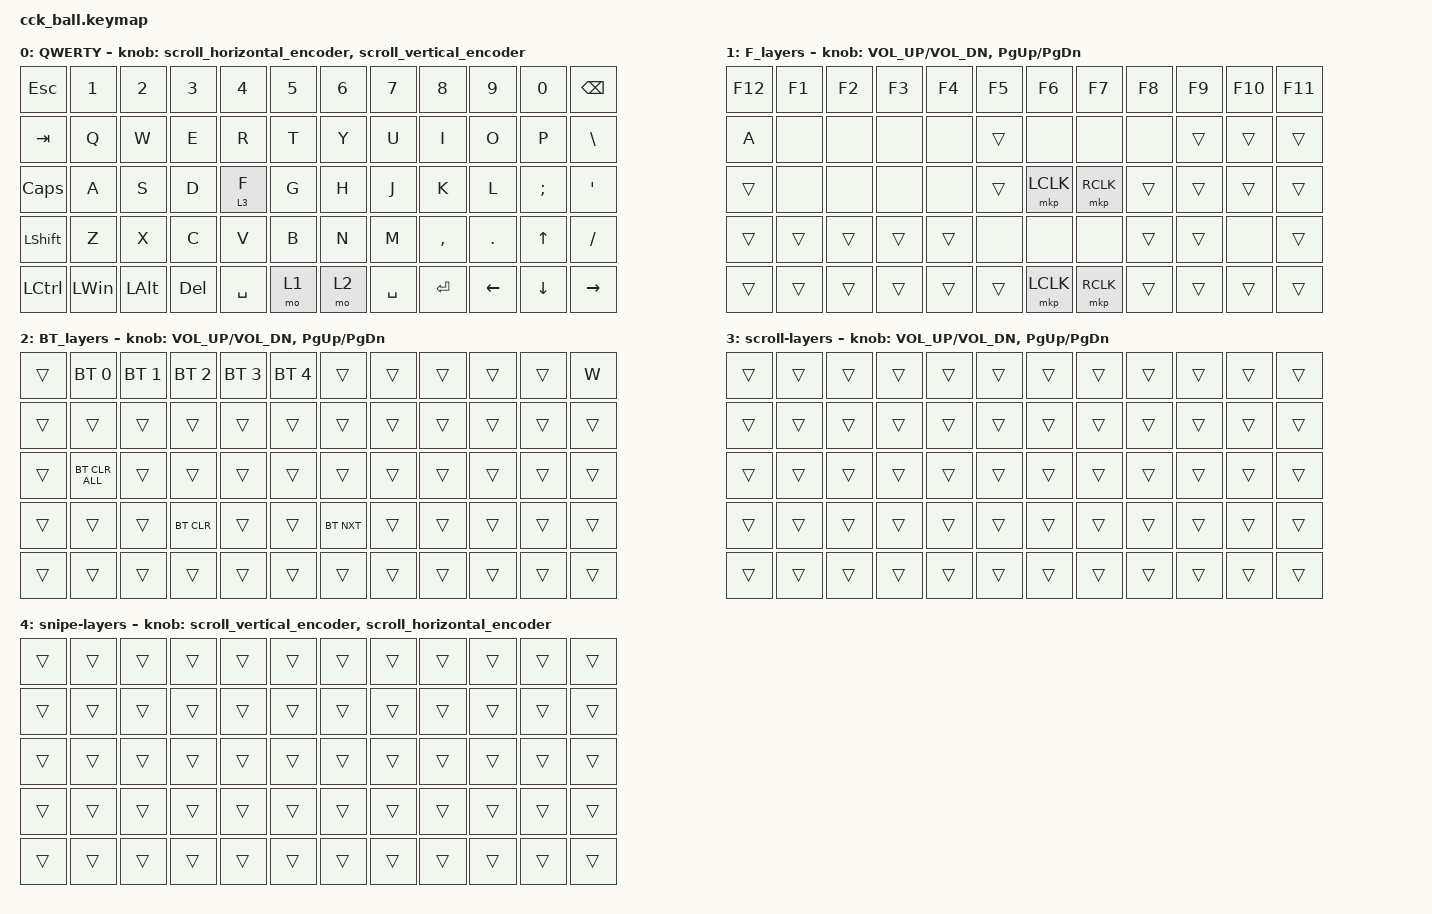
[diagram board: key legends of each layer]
#define ZMK_POINTING_DEFAULT_MOVE_VAL 1000 // 600
// Это СКОРОСТЬ, а не «пиксели за щелчок». За один тик &msc набегает
// SCRL_VAL * trigger-period-ms / 1000, отправляется только целая часть,
// остаток копится и обнуляется при отпускании (behavior_input_two_axis.c).
// Расчёт при периоде 16 мс: 70 * 16/1000 = 1.12 => единица набирается за ПЕРВЫЙ
// тик, движение начинается через ~16 мс. С прежними 40 (0.64 за тик) событие
// уходило лишь на втором тике, ~32 мс — это ощущалось как пауза перед стартом.
// Второго события не будет: при tap-ms 30 отпускание наступает раньше
// следующего тика (32 мс). Одно событие = один клик колеса (scaler 1:1).
#define ZMK_POINTING_DEFAULT_SCRL_VAL 70

#include <input/processors.dtsi>
#include <zephyr/dt-bindings/input/input-event-codes.h>
#include <behaviors.dtsi>
#include <dt-bindings/zmk/bt.h>
#include <dt-bindings/zmk/keys.h>
#include <dt-bindings/zmk/pointing.h>

&mmv_input_listener { input-processors = <&zip_xy_scaler 2 1>; };

// Множитель 1:1 — одно событие скролла = один «клик» колеса (100 px).
// С вендорским 2:1 каждый щелчок давал двойной клик (замер: 200 px).
&msc_input_listener { input-processors = <&zip_scroll_scaler 1 1>; };

&msc {
    acceleration-exponent = <0>;      // 0
    time-to-max-speed-ms = <300>;       // 300
    delay-ms = <0>;                   // 0
    // Период тиков оставлен ДЕФОЛТНЫМ (16 мс). Пробовали 8 мс с коротким
    // tap-ms — событие не уходило вообще: тик выполняется в системной
    // очереди работ и при занятости (BLE, опрос матрицы) не успевает до
    // release, который его отменяет (k_work_cancel_delayable).
};

&mmv {
    time-to-max-speed-ms = <500>;
    acceleration-exponent = <1>;
    trigger-period-ms = <16>;
};

&soft_off { hold-time-ms = <2000>; };

// Фильтр дребезга энкодеров. Симптом при вендорских 800 мкс: изредка «проскок»
// назад — щелчок будто крутнули обратно, а потом снова вперёд. Драйвер считает
// обратный щелчок глитчем, только если тот уложился в это окно после перехода
// в ту же сторону; 800 мкс для этих энкодеров мало. 5000 мкс безопасно:
// настоящий реверс требует остановиться и крутнуть назад, это десятки мс.
// ⚠️ Фильтр работает в драйвере на ТОЙ половине, где физически стоит энкодер:
// для левого энкодера правка вступит в силу только после прошивки ЛЕВОЙ половины.
&left_encoder  { filter-reverse-guard-us = <5000>; };
&right_encoder { filter-reverse-guard-us = <5000>; };

/ {
    // 上下滚动编码器行为
    // tap-ms — компромисс двух ИЗМЕРЕННЫХ границ:
    //  * слишком МАЛО (12-14 мс) => тик &msc не успевает выполниться до release,
    //    который его отменяет, и не уходит НИ ОДНОГО события (проверено);
    //  * слишком МНОГО (вендорские 100 мс) => очередь поведений тянет лишь
    //    ~10 щелчков/с, при быстром вращении переполняется, теряются release,
    //    и непрерывное &msc залипает нажатым => прокрутка сама по себе
    //    (замер: 59 событий/с в полном покое).
    // 30 мс: событие уходит на первом тике (16 мс), запас до отпускания 14 мс,
    // второй тик (32 мс) уже не наступает => ровно одно событие на щелчок.
    // Очередь тянет ~33 щелчка/с при буфере 512 элементов.
    scroll_vertical_encoder: scroll_vertical_encoder {
        compatible = "zmk,behavior-sensor-rotate";
        #sensor-binding-cells = <0>;
        // Порядок: первый binding — по часовой, второй — против.
        // Вендорский порядок (DOWN, UP) давал на правом энкодере движение
        // в обратную сторону — поменян местами.
        bindings = <&msc SCRL_UP>, <&msc SCRL_DOWN>;
        tap-ms = <30>;
    };

    // 左右滚动编码器行为
    scroll_horizontal_encoder: scroll_horizontal_encoder {
        compatible = "zmk,behavior-sensor-rotate";
        #sensor-binding-cells = <0>;
        // Порядок: по часовой, против. Поменян местами — направление
        // горизонтали было обратным (как и у вертикали).
        bindings = <&msc SCRL_RIGHT>, <&msc SCRL_LEFT>;
        tap-ms = <30>;
    };
    
    behaviors {
    };

    keymap {
        compatible = "zmk,keymap";

        QWERTY {
            bindings = <
&kp ESC           &kp N1        &kp N2        &kp N3      &kp N4     &kp N5  &kp N6  &kp N7     &kp N8     &kp N9          &kp N0          &kp BACKSPACE
&kp TAB           &kp Q         &kp W         &kp E       &kp R      &kp T   &kp Y   &kp U      &kp I      &kp O           &kp P           &kp BSLH
&kp CAPSLOCK      &kp A         &kp S         &kp D       &lt 3 F    &kp G   &kp H   &kp J      &kp K      &kp L           &kp SEMI        &kp SQT
&kp LEFT_SHIFT    &kp Z         &kp X         &kp C       &kp V      &kp B   &kp N   &kp M      &kp COMMA  &kp DOT         &kp UP_ARROW    &kp FSLH
&kp LEFT_CONTROL  &kp LEFT_WIN  &kp LEFT_ALT  &kp DELETE  &kp SPACE  &mo 1   &mo 2   &kp SPACE  &kp ENTER  &kp LEFT_ARROW  &kp DOWN_ARROW  &kp RIGHT_ARROW
            >;

            // Базовый слой: прокрутка на обоих энкодерах.
            // Порядок = sensors = <&left_encoder &right_encoder> (cck_ball.dtsi):
            // первый binding — ЛЕВЫЙ, второй — ПРАВЫЙ.
            // Громкость и PgUp/PgDn переехали на F_layers (&mo 1).
            sensor-bindings = <&scroll_horizontal_encoder>,  // левый: влево/вправо
                              <&scroll_vertical_encoder>;    // правый: вверх/вниз
        };

        F_layers {
            bindings = <
&kp F12  &kp F1  &kp F2  &kp F3  &kp F4  &kp F5  &kp F6     &kp F7     &kp F8  &kp F9  &kp F10  &kp F11
&kp A    &none   &none   &none   &none   &trans  &none      &none      &none   &trans  &trans   &trans
&trans   &none   &none   &none   &none   &trans  &mkp LCLK  &mkp RCLK  &trans  &trans  &trans   &trans
&trans   &trans  &trans  &trans  &trans  &none   &none      &none      &trans  &trans  &none    &trans
&trans   &trans  &trans  &trans  &trans  &trans  &mkp LCLK  &mkp RCLK  &trans  &trans  &trans   &trans
            >;

            sensor-bindings = <&inc_dec_kp C_VOL_UP C_VOL_DN &inc_dec_kp PG_UP PG_DN>;
        };

        BT_layers {
            bindings = <
&trans  &bt BT_SEL 0    &bt BT_SEL 1  &bt BT_SEL 2  &bt BT_SEL 3  &bt BT_SEL 4  &trans      &trans  &trans  &trans  &trans  &kp W
&trans  &trans          &trans        &trans        &trans        &trans        &trans      &trans  &trans  &trans  &trans  &trans
&trans  &bt BT_CLR_ALL  &trans        &trans        &trans        &trans        &trans      &trans  &trans  &trans  &trans  &trans
&trans  &trans          &trans        &bt BT_CLR    &trans        &trans        &bt BT_NXT  &trans  &trans  &trans  &trans  &trans
&trans  &trans          &trans        &trans        &trans        &trans        &trans      &trans  &trans  &trans  &trans  &trans
            >;

            sensor-bindings = <&inc_dec_kp C_VOL_UP C_VOL_DN &inc_dec_kp PG_UP PG_DN>;
        };

        scroll-layers {
            bindings = <
&trans  &trans  &trans  &trans  &trans  &trans  &trans  &trans  &trans  &trans  &trans  &trans
&trans  &trans  &trans  &trans  &trans  &trans  &trans  &trans  &trans  &trans  &trans  &trans
&trans  &trans  &trans  &trans  &trans  &trans  &trans  &trans  &trans  &trans  &trans  &trans
&trans  &trans  &trans  &trans  &trans  &trans  &trans  &trans  &trans  &trans  &trans  &trans
&trans  &trans  &trans  &trans  &trans  &trans  &trans  &trans  &trans  &trans  &trans  &trans
            >;

            sensor-bindings = <&inc_dec_kp C_VOL_UP C_VOL_DN &inc_dec_kp PG_UP PG_DN>;
        };

        snipe-layers {
            bindings = <
&trans  &trans  &trans  &trans  &trans  &trans  &trans  &trans  &trans  &trans  &trans  &trans
&trans  &trans  &trans  &trans  &trans  &trans  &trans  &trans  &trans  &trans  &trans  &trans
&trans  &trans  &trans  &trans  &trans  &trans  &trans  &trans  &trans  &trans  &trans  &trans
&trans  &trans  &trans  &trans  &trans  &trans  &trans  &trans  &trans  &trans  &trans  &trans
&trans  &trans  &trans  &trans  &trans  &trans  &trans  &trans  &trans  &trans  &trans  &trans
            >;

            sensor-bindings = <&scroll_vertical_encoder>,   // 编码器1：上下滚动
                             <&scroll_horizontal_encoder>;  // 编码器2：左右滚动
        };
    };
};
